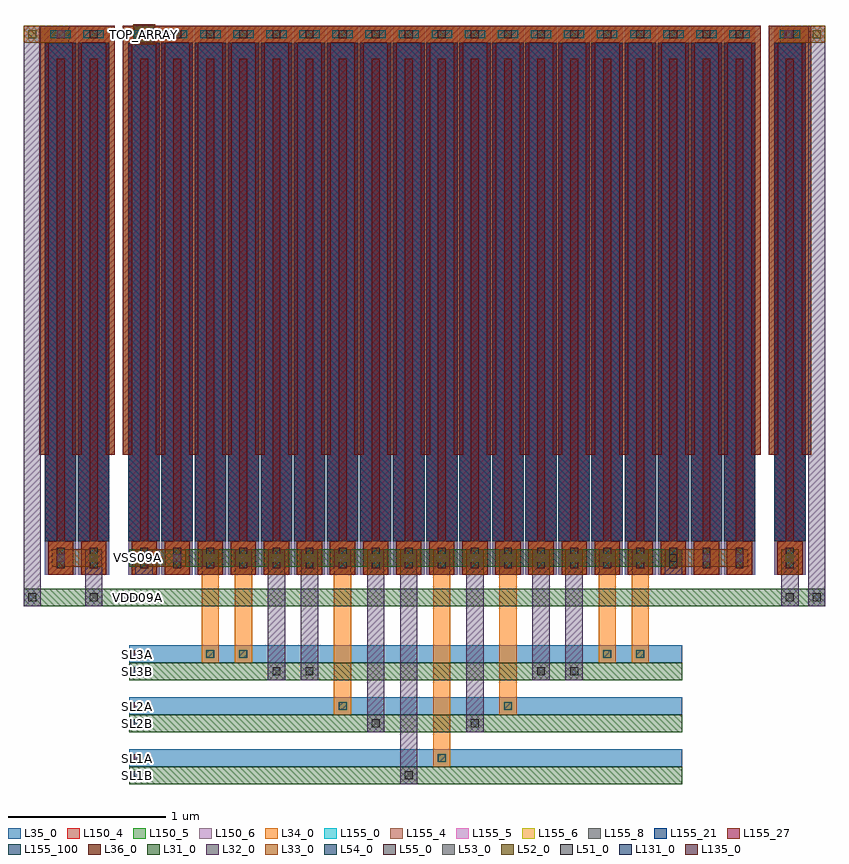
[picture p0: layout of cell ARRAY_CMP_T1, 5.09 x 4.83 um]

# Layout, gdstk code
from math import pi, radians
import gdstk
lib = gdstk.Library(unit=1e-6, precision=1e-09)
def R(c, l, rs):  # rectangles x0, y0, x1, y1
    for r in rs: c.add(gdstk.rectangle(r[:2], r[2:], *l))
def A(c, l, x, y, w, h, nx, ny, dx, dy):  # array of equal rectangles
    R(c, l, [(x+i*dx, y+j*dy, x+i*dx+w, y+j*dy+h) for i in range(nx) for j in range(ny)])
L31_0 = (31, 0)
L32_0 = (32, 0)
L33_0 = (33, 0)
L34_0 = (34, 0)
L35_0 = (35, 0)
L36_0 = (36, 0)
L51_0 = (51, 0)
L52_0 = (52, 0)
L53_0 = (53, 0)
L54_0 = (54, 0)
L55_0 = (55, 0)
L131_0 = (131, 0)
L135_0 = (135, 0)
L150_4 = (150, 4)
L150_5 = (150, 5)
L150_6 = (150, 6)
L155_0 = (155, 0)
L155_4 = (155, 4)
L155_5 = (155, 5)
L155_6 = (155, 6)
L155_8 = (155, 8)
L155_21 = (155, 21)
L155_27 = (155, 27)
L155_100 = (155, 100)

m5_m4_cdns_617522444267 = lib.new_cell('M5_M4_CDNS_617522444267')
R(m5_m4_cdns_617522444267, L34_0, [(-0.07,-0.105,0.07,0.105)])
R(m5_m4_cdns_617522444267, L35_0, [(-0.07,-0.105,0.07,0.105)])
R(m5_m4_cdns_617522444267, L54_0, [(-0.025,-0.065,0.025,0.065)])

m6_m5_cdns_617522444268 = lib.new_cell('M6_M5_CDNS_617522444268')
R(m6_m5_cdns_617522444268, L35_0, [(-0.07,-0.105,0.07,0.105)])
R(m6_m5_cdns_617522444268, L36_0, [(-0.055,-0.105,0.055,0.105)])
R(m6_m5_cdns_617522444268, L55_0, [(-0.025,-0.065,0.025,0.065)])

m5_m4_cdns_617522444269 = lib.new_cell('M5_M4_CDNS_617522444269')
R(m5_m4_cdns_617522444269, L34_0, [(-0.095,-0.055,0.095,0.055)])
R(m5_m4_cdns_617522444269, L35_0, [(-0.12,-0.055,0.12,0.055)])
R(m5_m4_cdns_617522444269, L54_0, [(-0.065,-0.025,0.065,0.025)])

m6_m5_cdns_6175224442610 = lib.new_cell('M6_M5_CDNS_6175224442610')
R(m6_m5_cdns_6175224442610, L35_0, [(-0.055,-0.055,0.055,0.055)])
R(m6_m5_cdns_6175224442610, L36_0, [(-0.055,-0.055,0.055,0.055)])
R(m6_m5_cdns_6175224442610, L55_0, [(-0.025,-0.025,0.025,0.025)])

cu1f_v2 = lib.new_cell('CU1F_v2')
R(cu1f_v2, L34_0, [(0.02,0,0.18,0.21), (-0.035,3.375,0.235,3.485)])
R(cu1f_v2, L35_0, [(0.02,0,0.18,0.21), (-0.035,3.375,0.235,3.485)])
R(cu1f_v2, L36_0, [(0.02,0,0.18,0.21), (-0.035,3.375,0.235,3.485)])
R(cu1f_v2, L150_4, [(0,0,0.2,3.485)])
R(cu1f_v2, L150_5, [(0,0,0.2,3.485)])
R(cu1f_v2, L150_6, [(0,0,0.2,3.485)])
R(cu1f_v2, L155_0, [(0,0.21,0.2,3.375)])
R(cu1f_v2, L155_4, [(0,0.21,0.2,3.375)])
R(cu1f_v2, L155_5, [(0,0.21,0.2,3.375)])
R(cu1f_v2, L155_6, [(0,0.21,0.2,3.375)])
R(cu1f_v2, L155_8, [(0,0.21,0.2,3.375)])
R(cu1f_v2, L155_21, [(0,0.21,0.2,3.375)])
R(cu1f_v2, L155_27, [(0,0.21,0.2,3.375)])
R(cu1f_v2, L155_100, [(0,0.21,0.2,3.375)])
cu1f_v2.add(gdstk.FlexPath([(0.205,3.455),(0.205,0.76)], 0.06, ends=(0.03, 0), simple_path=True, layer=34, datatype=0))  # L34_0
cu1f_v2.add(gdstk.FlexPath([(0.1,3.275),(0.1,0)], 0.05, ends="flush", simple_path=True, layer=34, datatype=0))  # L34_0
cu1f_v2.add(gdstk.FlexPath([(-0.005,3.455),(-0.005,0.76)], 0.06, ends=(0.03, 0), simple_path=True, layer=34, datatype=0))  # L34_0
cu1f_v2.add(gdstk.FlexPath([(0.205,0.76),(0.205,3.455)], 0.06, ends=(0, 0.03), simple_path=True, layer=35, datatype=0))  # L35_0
cu1f_v2.add(gdstk.FlexPath([(0.1,3.275),(0.1,0)], 0.05, ends="flush", simple_path=True, layer=35, datatype=0))  # L35_0
cu1f_v2.add(gdstk.FlexPath([(-0.005,0.76),(-0.005,3.455)], 0.06, ends=(0, 0.03), simple_path=True, layer=35, datatype=0))  # L35_0
cu1f_v2.add(gdstk.FlexPath([(0.205,0.76),(0.205,3.455)], 0.06, ends=(0, 0.03), simple_path=True, layer=36, datatype=0))  # L36_0
cu1f_v2.add(gdstk.FlexPath([(0.1,3.275),(0.1,0)], 0.05, ends="flush", simple_path=True, layer=36, datatype=0))  # L36_0
cu1f_v2.add(gdstk.FlexPath([(-0.005,0.76),(-0.005,3.455)], 0.06, ends=(0, 0.03), simple_path=True, layer=36, datatype=0))  # L36_0
cu1f_v2.add(gdstk.Reference(m5_m4_cdns_617522444267, (0.1,0.105), rotation=pi, x_reflection=True))
cu1f_v2.add(gdstk.Reference(m6_m5_cdns_617522444268, (0.1,0.105), rotation=pi, x_reflection=True))
cu1f_v2.add(gdstk.Reference(m5_m4_cdns_617522444269, (0.1,3.43)))
cu1f_v2.add(gdstk.Reference(m6_m5_cdns_6175224442610, (0.1,3.43)))

m2_m1_cdns_617522444260 = lib.new_cell('M2_M1_CDNS_617522444260')
R(m2_m1_cdns_617522444260, L31_0, [(-0.055,-0.055,0.055,0.055)])
R(m2_m1_cdns_617522444260, L32_0, [(-0.055,-0.055,0.055,0.055)])
R(m2_m1_cdns_617522444260, L51_0, [(-0.025,-0.025,0.025,0.025)])

m3_m2_cdns_617522444261 = lib.new_cell('M3_M2_CDNS_617522444261')
R(m3_m2_cdns_617522444261, L32_0, [(-0.055,-0.055,0.055,0.055)])
R(m3_m2_cdns_617522444261, L33_0, [(-0.055,-0.055,0.055,0.055)])
R(m3_m2_cdns_617522444261, L52_0, [(-0.025,-0.025,0.025,0.025)])

m4_m3_cdns_617522444262 = lib.new_cell('M4_M3_CDNS_617522444262')
R(m4_m3_cdns_617522444262, L33_0, [(-0.055,-0.055,0.055,0.055)])
R(m4_m3_cdns_617522444262, L34_0, [(-0.055,-0.055,0.055,0.055)])
R(m4_m3_cdns_617522444262, L53_0, [(-0.025,-0.025,0.025,0.025)])

m4_m3_cdns_617522444263 = lib.new_cell('M4_M3_CDNS_617522444263')
R(m4_m3_cdns_617522444263, L33_0, [(-0.07,-0.065,0.07,0.065)])
R(m4_m3_cdns_617522444263, L34_0, [(-0.055,-0.055,0.055,0.055)])
R(m4_m3_cdns_617522444263, L53_0, [(-0.025,-0.025,0.025,0.025)])

m3_m2_cdns_617522444264 = lib.new_cell('M3_M2_CDNS_617522444264')
R(m3_m2_cdns_617522444264, L32_0, [(-0.065,-0.06,0.065,0.06)])
R(m3_m2_cdns_617522444264, L33_0, [(-0.07,-0.065,0.07,0.065)])
R(m3_m2_cdns_617522444264, L52_0, [(-0.025,-0.025,0.025,0.025)])

m2_m1_cdns_617522444265 = lib.new_cell('M2_M1_CDNS_617522444265')
R(m2_m1_cdns_617522444265, L31_0, [(-0.055,-0.055,0.055,0.055)])
R(m2_m1_cdns_617522444265, L32_0, [(-0.065,-0.06,0.065,0.06)])
R(m2_m1_cdns_617522444265, L51_0, [(-0.025,-0.025,0.025,0.025)])

m5_m4_cdns_617522444266 = lib.new_cell('M5_M4_CDNS_617522444266')
R(m5_m4_cdns_617522444266, L34_0, [(-0.055,-0.055,0.055,0.055)])
R(m5_m4_cdns_617522444266, L35_0, [(-0.055,-0.055,0.055,0.055)])
R(m5_m4_cdns_617522444266, L54_0, [(-0.025,-0.025,0.025,0.025)])

array_cmp_t1 = lib.new_cell('ARRAY_CMP_T1')
A(array_cmp_t1, L31_0, 0.535, -1.33, 3.51, 0.11, 1, 3, 0, 0.33)
R(array_cmp_t1, L31_0, [(-0.135,-0.2,4.955,-0.09), (0.535,0.05,4.045,0.16), (0.56,3.365,0.7,3.495)])
R(array_cmp_t1, L32_0, [(2.255,-1.33,2.365,0.16), (2.045,-1,2.155,0.16), (2.675,-1,2.785,0.16), (1.415,-0.67,1.525,0.16), (1.625,-0.67,1.735,0.16), (3.095,-0.67,3.205,0.16), (3.305,-0.67,3.415,0.16), (-0.135,-0.2,-0.025,3.485), (0.255,-0.2,0.365,0.16), (4.675,-0.2,4.785,0.16), (4.845,-0.2,4.955,3.485), (0.575,0,0.685,0.16), (3.935,0,4.045,0.16)])
A(array_cmp_t1, L33_0, 0.995, 0, 0.11, 0.16, 14, 1, 0.21, 0)
R(array_cmp_t1, L33_0, [(4.675,0,4.785,0.16), (0.045,0.05,0.365,0.16), (0.575,0.05,0.895,0.16), (3.935,0.05,4.465,0.16), (-0.135,3.375,0.155,3.485), (4.665,3.375,4.955,3.485)])
R(array_cmp_t1, L34_0, [(2.465,-1.22,2.575,0.16), (1.835,-0.89,1.945,0.16), (2.885,-0.89,2.995,0.16), (0.995,-0.56,1.105,0.16), (1.205,-0.56,1.315,0.16), (3.515,-0.56,3.625,0.16), (3.725,-0.56,3.835,0.16)])
A(array_cmp_t1, L35_0, 0.535, -1.22, 3.51, 0.11, 1, 3, 0, 0.33)
A(array_cmp_t1, L131_0, 0.565, -1.3, 0.05, 0.05, 1, 3, 0, 0.33)
R(array_cmp_t1, L131_0, [(0.565,-0.17,0.615,-0.12), (0.565,0.08,0.615,0.13), (0.605,3.405,0.655,3.455)])
A(array_cmp_t1, L135_0, 0.565, -1.19, 0.05, 0.05, 1, 3, 0, 0.33)
array_cmp_t1.add(gdstk.Reference(cu1f_v2, (0,0)))
array_cmp_t1.add(gdstk.Reference(cu1f_v2, (0.21,0)))
array_cmp_t1.add(gdstk.Reference(cu1f_v2, (0.53,0)))
array_cmp_t1.add(gdstk.Reference(cu1f_v2, (0.74,0)))
array_cmp_t1.add(gdstk.Reference(cu1f_v2, (4.63,0)))
array_cmp_t1.add(gdstk.Reference(cu1f_v2, (4.31,0)))
array_cmp_t1.add(gdstk.Reference(cu1f_v2, (4.1,0)))
array_cmp_t1.add(gdstk.Reference(cu1f_v2, (3.89,0)))
array_cmp_t1.add(gdstk.Reference(cu1f_v2, (3.68,0)))
array_cmp_t1.add(gdstk.Reference(cu1f_v2, (3.47,0)))
array_cmp_t1.add(gdstk.Reference(cu1f_v2, (3.26,0)))
array_cmp_t1.add(gdstk.Reference(cu1f_v2, (3.05,0)))
array_cmp_t1.add(gdstk.Reference(cu1f_v2, (2.84,0)))
array_cmp_t1.add(gdstk.Reference(cu1f_v2, (2.63,0)))
array_cmp_t1.add(gdstk.Reference(cu1f_v2, (2.42,0)))
array_cmp_t1.add(gdstk.Reference(cu1f_v2, (2.21,0)))
array_cmp_t1.add(gdstk.Reference(cu1f_v2, (2,0)))
array_cmp_t1.add(gdstk.Reference(cu1f_v2, (1.79,0)))
array_cmp_t1.add(gdstk.Reference(cu1f_v2, (1.58,0)))
array_cmp_t1.add(gdstk.Reference(cu1f_v2, (1.37,0)))
array_cmp_t1.add(gdstk.Reference(cu1f_v2, (1.16,0)))
array_cmp_t1.add(gdstk.Reference(cu1f_v2, (0.95,0)))
array_cmp_t1.add(gdstk.Reference(m2_m1_cdns_617522444260, (4.9,-0.145)))
array_cmp_t1.add(gdstk.Reference(m2_m1_cdns_617522444260, (-0.08,-0.145)))
array_cmp_t1.add(gdstk.Reference(m2_m1_cdns_617522444260, (3.99,0.105)))
array_cmp_t1.add(gdstk.Reference(m2_m1_cdns_617522444260, (4.73,-0.145)))
array_cmp_t1.add(gdstk.Reference(m2_m1_cdns_617522444260, (0.31,-0.145)))
array_cmp_t1.add(gdstk.Reference(m2_m1_cdns_617522444260, (2.31,-1.275)))
array_cmp_t1.add(gdstk.Reference(m2_m1_cdns_617522444260, (2.1,-0.945)))
array_cmp_t1.add(gdstk.Reference(m2_m1_cdns_617522444260, (2.73,-0.945)))
array_cmp_t1.add(gdstk.Reference(m2_m1_cdns_617522444260, (1.68,-0.615)))
array_cmp_t1.add(gdstk.Reference(m2_m1_cdns_617522444260, (1.47,-0.615)))
array_cmp_t1.add(gdstk.Reference(m2_m1_cdns_617522444260, (3.15,-0.615)))
array_cmp_t1.add(gdstk.Reference(m2_m1_cdns_617522444260, (3.36,-0.615)))
array_cmp_t1.add(gdstk.Reference(m2_m1_cdns_617522444260, (0.63,0.105)))
array_cmp_t1.add(gdstk.Reference(m3_m2_cdns_617522444261, (4.9,3.43)))
array_cmp_t1.add(gdstk.Reference(m3_m2_cdns_617522444261, (-0.08,3.43)))
array_cmp_t1.add(gdstk.Reference(m3_m2_cdns_617522444261, (1.05,0.105)))
array_cmp_t1.add(gdstk.Reference(m3_m2_cdns_617522444261, (1.26,0.105)))
array_cmp_t1.add(gdstk.Reference(m3_m2_cdns_617522444261, (1.47,0.105)))
array_cmp_t1.add(gdstk.Reference(m3_m2_cdns_617522444261, (1.68,0.105)))
array_cmp_t1.add(gdstk.Reference(m3_m2_cdns_617522444261, (1.89,0.105)))
array_cmp_t1.add(gdstk.Reference(m3_m2_cdns_617522444261, (2.1,0.105)))
array_cmp_t1.add(gdstk.Reference(m3_m2_cdns_617522444261, (2.31,0.105)))
array_cmp_t1.add(gdstk.Reference(m3_m2_cdns_617522444261, (2.52,0.105)))
array_cmp_t1.add(gdstk.Reference(m3_m2_cdns_617522444261, (2.73,0.105)))
array_cmp_t1.add(gdstk.Reference(m3_m2_cdns_617522444261, (2.94,0.105)))
array_cmp_t1.add(gdstk.Reference(m3_m2_cdns_617522444261, (3.15,0.105)))
array_cmp_t1.add(gdstk.Reference(m3_m2_cdns_617522444261, (3.36,0.105)))
array_cmp_t1.add(gdstk.Reference(m3_m2_cdns_617522444261, (3.57,0.105)))
array_cmp_t1.add(gdstk.Reference(m3_m2_cdns_617522444261, (3.78,0.105)))
array_cmp_t1.add(gdstk.Reference(m3_m2_cdns_617522444261, (4.73,0.105)))
array_cmp_t1.add(gdstk.Reference(m3_m2_cdns_617522444261, (3.99,0.105)))
array_cmp_t1.add(gdstk.Reference(m3_m2_cdns_617522444261, (0.63,0.105)))
array_cmp_t1.add(gdstk.Reference(m3_m2_cdns_617522444261, (0.31,0.105)))
array_cmp_t1.add(gdstk.Reference(m4_m3_cdns_617522444262, (4.72,3.43), rotation=pi, x_reflection=True))
array_cmp_t1.add(gdstk.Reference(m4_m3_cdns_617522444262, (0.1,3.43)))
array_cmp_t1.add(gdstk.Reference(m4_m3_cdns_617522444262, (1.05,0.105)))
array_cmp_t1.add(gdstk.Reference(m4_m3_cdns_617522444262, (1.26,0.105)))
array_cmp_t1.add(gdstk.Reference(m4_m3_cdns_617522444262, (1.47,0.105)))
array_cmp_t1.add(gdstk.Reference(m4_m3_cdns_617522444262, (1.68,0.105)))
array_cmp_t1.add(gdstk.Reference(m4_m3_cdns_617522444262, (1.89,0.105)))
array_cmp_t1.add(gdstk.Reference(m4_m3_cdns_617522444262, (2.1,0.105)))
array_cmp_t1.add(gdstk.Reference(m4_m3_cdns_617522444262, (2.31,0.105)))
array_cmp_t1.add(gdstk.Reference(m4_m3_cdns_617522444262, (2.52,0.105)))
array_cmp_t1.add(gdstk.Reference(m4_m3_cdns_617522444262, (2.73,0.105)))
array_cmp_t1.add(gdstk.Reference(m4_m3_cdns_617522444262, (2.94,0.105)))
array_cmp_t1.add(gdstk.Reference(m4_m3_cdns_617522444262, (3.15,0.105)))
array_cmp_t1.add(gdstk.Reference(m4_m3_cdns_617522444262, (3.36,0.105)))
array_cmp_t1.add(gdstk.Reference(m4_m3_cdns_617522444262, (3.57,0.105)))
array_cmp_t1.add(gdstk.Reference(m4_m3_cdns_617522444262, (3.78,0.105)))
array_cmp_t1.add(gdstk.Reference(m4_m3_cdns_617522444262, (4.73,0.105)))
array_cmp_t1.add(gdstk.Reference(m4_m3_cdns_617522444262, (4.2,0.105)))
array_cmp_t1.add(gdstk.Reference(m4_m3_cdns_617522444262, (4.41,0.105)))
array_cmp_t1.add(gdstk.Reference(m4_m3_cdns_617522444262, (3.99,0.105)))
array_cmp_t1.add(gdstk.Reference(m4_m3_cdns_617522444262, (0.84,0.105)))
array_cmp_t1.add(gdstk.Reference(m4_m3_cdns_617522444262, (0.63,0.105)))
array_cmp_t1.add(gdstk.Reference(m4_m3_cdns_617522444262, (0.1,0.105)))
array_cmp_t1.add(gdstk.Reference(m4_m3_cdns_617522444262, (0.31,0.105)))
array_cmp_t1.add(gdstk.Reference(m4_m3_cdns_617522444263, (0.63,3.43)))
array_cmp_t1.add(gdstk.Reference(m3_m2_cdns_617522444264, (0.63,3.43)))
array_cmp_t1.add(gdstk.Reference(m2_m1_cdns_617522444265, (0.63,3.43)))
array_cmp_t1.add(gdstk.Reference(m5_m4_cdns_617522444266, (1.89,-0.835)))
array_cmp_t1.add(gdstk.Reference(m5_m4_cdns_617522444266, (2.94,-0.835)))
array_cmp_t1.add(gdstk.Reference(m5_m4_cdns_617522444266, (2.52,-1.165)))
array_cmp_t1.add(gdstk.Reference(m5_m4_cdns_617522444266, (3.78,-0.505)))
array_cmp_t1.add(gdstk.Reference(m5_m4_cdns_617522444266, (1.26,-0.505)))
array_cmp_t1.add(gdstk.Reference(m5_m4_cdns_617522444266, (3.57,-0.505)))
array_cmp_t1.add(gdstk.Reference(m5_m4_cdns_617522444266, (1.05,-0.505)))
array_cmp_t1.add(gdstk.Label('SL3A', (0.59,-0.505), layer=135, texttype=0))
array_cmp_t1.add(gdstk.Label('SL1A', (0.59,-1.165), layer=135, texttype=0))
array_cmp_t1.add(gdstk.Label('SL2A', (0.59,-0.835), layer=135, texttype=0))
array_cmp_t1.add(gdstk.Label('VDD09A', (0.59,-0.145), layer=131, texttype=0))
array_cmp_t1.add(gdstk.Label('SL3B', (0.59,-0.615), layer=131, texttype=0))
array_cmp_t1.add(gdstk.Label('VSS09A', (0.59,0.105), layer=131, texttype=0))
array_cmp_t1.add(gdstk.Label('SL1B', (0.59,-1.275), layer=131, texttype=0))
array_cmp_t1.add(gdstk.Label('SL2B', (0.59,-0.945), layer=131, texttype=0))
array_cmp_t1.add(gdstk.Label('TOP_ARRAY', (0.628,3.43), layer=131, texttype=0))

lib.write_gds('ARRAY_CMP_T1.gds')
